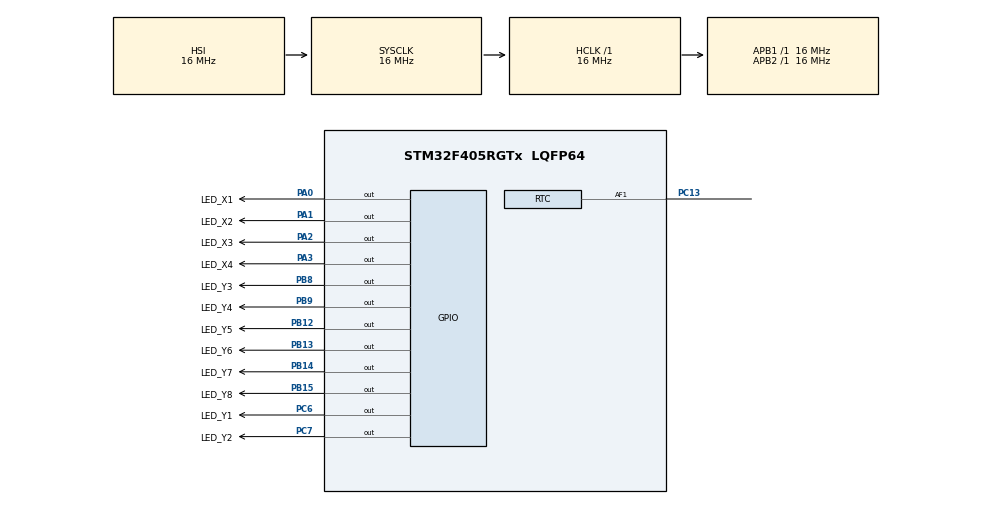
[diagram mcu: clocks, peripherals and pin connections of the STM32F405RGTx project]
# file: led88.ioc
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Mcu.Family=STM32F4
Mcu.Name=STM32F405RGTx
Mcu.Package=LQFP64
NVIC.PriorityGroup=NVIC_PRIORITYGROUP_4
PA0-WKUP.GPIO_Label=LED_X1
PA0-WKUP.Signal=GPIO_Output
PA0-WKUP.Stacked=true
PA1.GPIO_Label=LED_X2
PA1.Signal=GPIO_Output
PA2.GPIO_Label=LED_X3
PA2.Signal=GPIO_Output
PA3.GPIO_Label=LED_X4
PA3.Signal=GPIO_Output
PB12.GPIO_Label=LED_Y5
PB12.Signal=GPIO_Output
PB13.GPIO_Label=LED_Y6
PB13.Signal=GPIO_Output
PB14.GPIO_Label=LED_Y7
PB14.Signal=GPIO_Output
PB15.GPIO_Label=LED_Y8
PB15.Signal=GPIO_Output
PB8.GPIO_Label=LED_Y3
PB8.Signal=GPIO_Output
PB9.GPIO_Label=LED_Y4
PB9.Signal=GPIO_Output
PC13-ANTI_TAMP.Mode=Calibration_1Hz
PC13-ANTI_TAMP.Signal=RTC_AF1
PC6.GPIO_Label=LED_Y1
PC6.Signal=GPIO_Output
PC7.GPIO_Label=LED_Y2
PC7.Signal=GPIO_Output
ProjectManager.HeapSize=0x200
ProjectManager.StackSize=0x400
ProjectManager.TargetToolchain=MDK-ARM V5
RCC.AHBFreq_Value=16000000
RCC.APB1Freq_Value=16000000
RCC.APB2Freq_Value=16000000
RCC.CortexFreq_Value=16000000
RCC.HSE_VALUE=25000000
RCC.HSI_VALUE=16000000
RCC.LSE_VALUE=32768
RCC.SYSCLKFreq_VALUE=16000000
RCC.VCOOutputFreq_Value=192000000
RTC.Format=RTC_FORMAT_BIN
RTC.Year=19
VP_RTC_VS_RTC_Activate.Mode=RTC_Enabled
VP_RTC_VS_RTC_Calendar.Mode=RTC_Calendar
board=custom

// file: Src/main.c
/* USER CODE BEGIN Header */
/**
  ******************************************************************************
  * @file           : main.c
  * @brief          : Main program body
  ******************************************************************************
  * @attention
  *
  * <h2><center>&copy; Copyright (c) 2019 STMicroelectronics.
  * All rights reserved.</center></h2>
  *
  * This software component is licensed by ST under BSD 3-Clause license,
  * the "License"; You may not use this file except in compliance with the
  * License. You may obtain a copy of the License at:
  *                        opensource.org/licenses/BSD-3-Clause
  *
  ******************************************************************************
  */
/* USER CODE END Header */

#include "main.h"

RTC_HandleTypeDef hrtc;

/* USER CODE BEGIN PV */

uint8_t num_code[]={ 0xc0,0xf9,0xa4,0xb0, // 0?1?2?3
0x99,0x92,0x82,0xf8, // 4?5?6?7
0x80,0x90,0x88,0x83, // 8?9?a?b
0xa7,0xa1,0x86,0x8e}; // c?d?e?f

/* USER CODE END PV */

void SystemClock_Config(void);
static void MX_GPIO_Init(void);
static void MX_RTC_Init(void);

/* USER CODE BEGIN 0 */
void SetYOutPut(uint8_t set_value);

/* USER CODE END 0 */

int main(void)
{
  /* USER CODE BEGIN 1 */

	RTC_TimeTypeDef *sTime;
	uint8_t i = 0;
  /* USER CODE END 1 */

  /* MCU Configuration--------------------------------------------------------*/

  /* Reset of all peripherals, Initializes the Flash interface and the Systick. */
  HAL_Init();

  /* Configure the system clock */
  SystemClock_Config();

  /* Initialize all configured peripherals */
  MX_GPIO_Init();
  MX_RTC_Init();
  /* USER CODE BEGIN 2 */
	HAL_GPIO_WritePin(GPIOA, LED_X1_Pin|LED_X2_Pin|LED_X3_Pin|LED_X4_Pin, GPIO_PIN_SET);
  /* USER CODE END 2 */

  /* Infinite loop */
  /* USER CODE BEGIN WHILE */
  while (1)
  {

		HAL_GPIO_WritePin(GPIOA, LED_X1_Pin, GPIO_PIN_RESET);
		SetYOutPut(i/1000);
		HAL_Delay(50);
		HAL_GPIO_WritePin(GPIOA, LED_X1_Pin, GPIO_PIN_SET);

		HAL_GPIO_WritePin(GPIOA, LED_X2_Pin, GPIO_PIN_RESET);
		SetYOutPut((i-(i/1000)*1000)/100);
		HAL_Delay(50);
		HAL_GPIO_WritePin(GPIOA, LED_X2_Pin, GPIO_PIN_SET);

		HAL_GPIO_WritePin(GPIOA, LED_X3_Pin, GPIO_PIN_RESET);
		SetYOutPut((i-(i/100)*100)/10);
		HAL_Delay(50);
		HAL_GPIO_WritePin(GPIOA, LED_X3_Pin, GPIO_PIN_SET);

		HAL_GPIO_WritePin(GPIOA, LED_X4_Pin, GPIO_PIN_RESET);
		SetYOutPut(i%10);
		HAL_Delay(50);
		HAL_GPIO_WritePin(GPIOA, LED_X4_Pin, GPIO_PIN_SET);

    /* USER CODE END WHILE */

  }
}

void SystemClock_Config(void)
{
  RCC_OscInitTypeDef RCC_OscInitStruct = {0};
  RCC_ClkInitTypeDef RCC_ClkInitStruct = {0};
  RCC_PeriphCLKInitTypeDef PeriphClkInitStruct = {0};

  /** Configure the main internal regulator output voltage
  */
  __HAL_RCC_PWR_CLK_ENABLE();
  __HAL_PWR_VOLTAGESCALING_CONFIG(PWR_REGULATOR_VOLTAGE_SCALE1);
  /** Initializes the CPU, AHB and APB busses clocks
  */
  RCC_OscInitStruct.OscillatorType = RCC_OSCILLATORTYPE_HSI|RCC_OSCILLATORTYPE_LSI;
  RCC_OscInitStruct.HSIState = RCC_HSI_ON;
  RCC_OscInitStruct.HSICalibrationValue = RCC_HSICALIBRATION_DEFAULT;
  RCC_OscInitStruct.LSIState = RCC_LSI_ON;
  RCC_OscInitStruct.PLL.PLLState = RCC_PLL_NONE;
  if (HAL_RCC_OscConfig(&RCC_OscInitStruct) != HAL_OK)
  {
    Error_Handler();
  }
  /** Initializes the CPU, AHB and APB busses clocks
  */
  RCC_ClkInitStruct.ClockType = RCC_CLOCKTYPE_HCLK|RCC_CLOCKTYPE_SYSCLK
                              |RCC_CLOCKTYPE_PCLK1|RCC_CLOCKTYPE_PCLK2;
  RCC_ClkInitStruct.SYSCLKSource = RCC_SYSCLKSOURCE_HSI;
  RCC_ClkInitStruct.AHBCLKDivider = RCC_SYSCLK_DIV1;
  RCC_ClkInitStruct.APB1CLKDivider = RCC_HCLK_DIV1;
  RCC_ClkInitStruct.APB2CLKDivider = RCC_HCLK_DIV1;

  if (HAL_RCC_ClockConfig(&RCC_ClkInitStruct, FLASH_LATENCY_0) != HAL_OK)
  {
    Error_Handler();
  }
  PeriphClkInitStruct.PeriphClockSelection = RCC_PERIPHCLK_RTC;
  PeriphClkInitStruct.RTCClockSelection = RCC_RTCCLKSOURCE_LSI;
  if (HAL_RCCEx_PeriphCLKConfig(&PeriphClkInitStruct) != HAL_OK)
  {
    Error_Handler();
  }
}

static void MX_RTC_Init(void)
{

  RTC_TimeTypeDef sTime = {0};
  RTC_DateTypeDef sDate = {0};

  /** Initialize RTC Only
  */
  hrtc.Instance = RTC;
  hrtc.Init.HourFormat = RTC_HOURFORMAT_24;
  hrtc.Init.AsynchPrediv = 127;
  hrtc.Init.SynchPrediv = 255;
  hrtc.Init.OutPut = RTC_OUTPUT_DISABLE;
  hrtc.Init.OutPutPolarity = RTC_OUTPUT_POLARITY_HIGH;
  hrtc.Init.OutPutType = RTC_OUTPUT_TYPE_OPENDRAIN;
  if (HAL_RTC_Init(&hrtc) != HAL_OK)
  {
    Error_Handler();
  }

  /** Initialize RTC and set the Time and Date
  */
  sTime.Hours = 0;
  sTime.Minutes = 0;
  sTime.Seconds = 0;
  sTime.DayLightSaving = RTC_DAYLIGHTSAVING_NONE;
  sTime.StoreOperation = RTC_STOREOPERATION_RESET;
  if (HAL_RTC_SetTime(&hrtc, &sTime, RTC_FORMAT_BIN) != HAL_OK)
  {
    Error_Handler();
  }
  sDate.WeekDay = RTC_WEEKDAY_MONDAY;
  sDate.Month = RTC_MONTH_JANUARY;
  sDate.Date = 1;
  sDate.Year = 19;

  if (HAL_RTC_SetDate(&hrtc, &sDate, RTC_FORMAT_BIN) != HAL_OK)
  {
    Error_Handler();
  }
  /** Enable Calibrartion
  */
  if (HAL_RTCEx_SetCalibrationOutPut(&hrtc, RTC_CALIBOUTPUT_1HZ) != HAL_OK)
  {
    Error_Handler();
  }

}

static void MX_GPIO_Init(void)
{
  GPIO_InitTypeDef GPIO_InitStruct = {0};

  /* GPIO Ports Clock Enable */
  __HAL_RCC_GPIOC_CLK_ENABLE();
  __HAL_RCC_GPIOA_CLK_ENABLE();
  __HAL_RCC_GPIOB_CLK_ENABLE();

  /*Configure GPIO pin Output Level */
  HAL_GPIO_WritePin(GPIOA, LED_X1_Pin|LED_X2_Pin|LED_X3_Pin|LED_X4_Pin, GPIO_PIN_RESET);

  /*Configure GPIO pin Output Level */
  HAL_GPIO_WritePin(GPIOB, LED_Y5_Pin|LED_Y6_Pin|LED_Y7_Pin|LED_Y8_Pin
                          |LED_Y3_Pin|LED_Y4_Pin, GPIO_PIN_RESET);

  /*Configure GPIO pin Output Level */
  HAL_GPIO_WritePin(GPIOC, LED_Y1_Pin|LED_Y2_Pin, GPIO_PIN_RESET);

  /*Configure GPIO pins : LED_X1_Pin LED_X2_Pin LED_X3_Pin LED_X4_Pin */
  GPIO_InitStruct.Pin = LED_X1_Pin|LED_X2_Pin|LED_X3_Pin|LED_X4_Pin;
  GPIO_InitStruct.Mode = GPIO_MODE_OUTPUT_PP;
  GPIO_InitStruct.Pull = GPIO_NOPULL;
  GPIO_InitStruct.Speed = GPIO_SPEED_FREQ_LOW;
  HAL_GPIO_Init(GPIOA, &GPIO_InitStruct);

  /*Configure GPIO pins : LED_Y5_Pin LED_Y6_Pin LED_Y7_Pin LED_Y8_Pin
                           LED_Y3_Pin LED_Y4_Pin */
  GPIO_InitStruct.Pin = LED_Y5_Pin|LED_Y6_Pin|LED_Y7_Pin|LED_Y8_Pin
                          |LED_Y3_Pin|LED_Y4_Pin;
  GPIO_InitStruct.Mode = GPIO_MODE_OUTPUT_PP;
  GPIO_InitStruct.Pull = GPIO_NOPULL;
  GPIO_InitStruct.Speed = GPIO_SPEED_FREQ_LOW;
  HAL_GPIO_Init(GPIOB, &GPIO_InitStruct);

  /*Configure GPIO pins : LED_Y1_Pin LED_Y2_Pin */
  GPIO_InitStruct.Pin = LED_Y1_Pin|LED_Y2_Pin;
  GPIO_InitStruct.Mode = GPIO_MODE_OUTPUT_PP;
  GPIO_InitStruct.Pull = GPIO_NOPULL;
  GPIO_InitStruct.Speed = GPIO_SPEED_FREQ_LOW;
  HAL_GPIO_Init(GPIOC, &GPIO_InitStruct);

}

/* USER CODE BEGIN 4 */
void SetYOutPut(uint8_t set_value)
{

	if(0x80 == (set_value&0x80))
	{
	  HAL_GPIO_WritePin(GPIOB, LED_Y8_Pin , GPIO_PIN_SET);
	}
	else
	{
	  HAL_GPIO_WritePin(GPIOB, LED_Y8_Pin , GPIO_PIN_SET);
	}

	if(0x40 == (set_value&0x40))
	{
	  HAL_GPIO_WritePin(GPIOB, LED_Y7_Pin , GPIO_PIN_SET);
	}
	else
	{
	  HAL_GPIO_WritePin(GPIOB, LED_Y7_Pin , GPIO_PIN_SET);
	}

	if(0x20 == (set_value&0x20))
	{
	  HAL_GPIO_WritePin(GPIOB, LED_Y6_Pin , GPIO_PIN_SET);
	}
	else
	{
	  HAL_GPIO_WritePin(GPIOB, LED_Y6_Pin , GPIO_PIN_SET);
	}

	if(0x10 == (set_value&0x10))
	{
	  HAL_GPIO_WritePin(GPIOB, LED_Y5_Pin , GPIO_PIN_SET);
	}
	else
	{
	  HAL_GPIO_WritePin(GPIOB, LED_Y5_Pin , GPIO_PIN_SET);
	}

	if(0x8 == (set_value&0x8))
	{
	  HAL_GPIO_WritePin(GPIOB, LED_Y4_Pin , GPIO_PIN_SET);
	}
	else
	{
	  HAL_GPIO_WritePin(GPIOB, LED_Y4_Pin , GPIO_PIN_SET);
	}

	if(0x4 == (set_value&0x4))
	{
	  HAL_GPIO_WritePin(GPIOB, LED_Y3_Pin , GPIO_PIN_SET);
	}
	else
	{
	  HAL_GPIO_WritePin(GPIOB, LED_Y3_Pin , GPIO_PIN_SET);
	}

	if(0x2 == (set_value&0x02))
	{
	  HAL_GPIO_WritePin(GPIOC, LED_Y2_Pin , GPIO_PIN_SET);
	}
	else
	{
	  HAL_GPIO_WritePin(GPIOC, LED_Y2_Pin , GPIO_PIN_SET);
	}

	if(0x1 == (set_value&0x1))
	{
	  HAL_GPIO_WritePin(GPIOC, LED_Y1_Pin , GPIO_PIN_SET);
	}
	else
	{
	  HAL_GPIO_WritePin(GPIOC, LED_Y1_Pin , GPIO_PIN_SET);
	}

}

/* USER CODE END 4 */

void Error_Handler(void)
{
}

/************************ (C) COPYRIGHT STMicroelectronics *****END OF FILE****/
